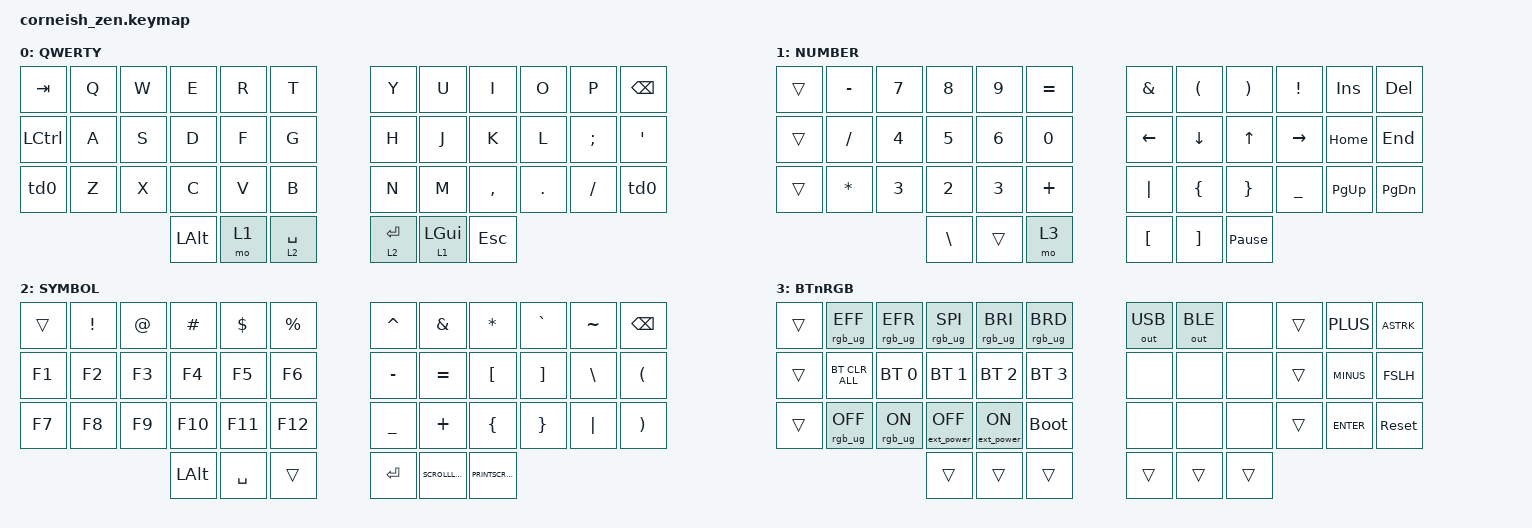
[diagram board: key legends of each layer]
/*
 * Copyright (c) 2020 The ZMK Contributors
 *
 * SPDX-License-Identifier: MIT
 */

#include <behaviors.dtsi>
#include <dt-bindings/zmk/bt.h>
#include <dt-bindings/zmk/ext_power.h>
#include <dt-bindings/zmk/keys.h>
#include <dt-bindings/zmk/outputs.h>
#include <dt-bindings/zmk/rgb.h>

/ {
    chosen {
        zmk,matrix_transform = &default_transform;

        // zmk,matrix_transform = &five_column_transform;
    };
};

/ {
    behaviors {
        td0: td0 {
            compatible = "zmk,behavior-tap-dance";
            label = "TD0";
            #binding-cells = <0>;
            bindings = <&kp LEFT_SHIFT>, <&kp CAPS>;
        };
    };

    keymap {
        compatible = "zmk,keymap";

        default_layer {
            display-name = "QWERTY";

            // --------------------------------------------------------------------------------
            // |  TAB |  Q  |  W  |  E  |  R  |  T  |   |  Y  |  U  |  I  |  O  |  P  | BKSP |
            // | CTRL |  A  |  S  |  D  |  F  |  G  |   |  H  |  J  |  K  |  L  |  ;  |  '   | 
            // | SHFT |  Z  |  X  |  C  |  V  |  B  |   |  N  |  M  |  ,  |  .  |  /  | SHFT |
            //                    | ALT | L01 |L2SPC|   |L3ENT|L1GUI| ESC |

            bindings = <
&kp TAB    &kp Q  &kp W  &kp E     &kp R   &kp T          &kp Y        &kp U      &kp I      &kp O    &kp P     &kp BSPC
&kp LCTRL  &kp A  &kp S  &kp D     &kp F   &kp G          &kp H        &kp J      &kp K      &kp L    &kp SEMI  &kp SQT
&td0       &kp Z  &kp X  &kp C     &kp V   &kp B          &kp N        &kp M      &kp COMMA  &kp DOT  &kp FSLH  &td0
                         &kp LALT  &mo 1   &lt 2 SPACE    &lt 2 ENTER  &lt 1 LGUI  &kp ESC
            >;
        };

        lower_layer {
            display-name = "NUMBER";

            // -----------------------------------------------------------------------------------------
            // |  TAB |  -  |  7  |  8  |  9  |  =  |   |  &  |  (  |  )  |  !  | INS |  DEL |
            // | CTLR |  /  |  4  |  5  |  6  |  0  |   | LFT | DWN |  UP | RGT | HOM |  END |
            // | SHFT |  *  |  1  |  2  |  3  |  +  |   | "|" |  {  |  }  |  _  | PGUP| PGDN |
            //                    |  \  |     | L03 |   |  [  |  ]  | P_B |

            bindings = <
&trans  &kp MINUS  &kp N7   &kp N8    &kp N9  &kp EQUAL   &kp AMPS  &kp LPAR  &kp RPAR  &kp EXCL   &kp INS    &kp DEL
&trans  &kp FSLH   &kp N4   &kp N5    &kp N6  &kp N0      &kp LEFT  &kp DOWN  &kp UP    &kp RIGHT  &kp HOME   &kp END
&trans  &kp ASTRK  &kp N3   &kp N2    &kp N3  &kp PLUS    &kp PIPE  &kp LBRC  &kp RBRC  &kp UNDER  &kp PG_UP  &kp PG_DN
                            &kp BSLH  &trans  &mo 3       &kp LBKT  &kp RBKT  &kp PAUSE_BREAK
            >;
        };

        raise_layer {
            display-name = "SYMBOL";

            // -----------------------------------------------------------------------------------------
            // |  TAB |  !  |  @  |  #  |  $  |  %  |   |  ^  |  &  |  *  |  (  |  )  | BKSP |
            // |  F1  |  F2 |  F3 |  F4 |  F5 |  F6 |   |  -  |  =  |  [  |  ]  |  \  |  `   |
            // |  F7  |  F8 |  F9 | F10 | F11 | F12 |   |  _  |  +  |  {  |  }  | "|" |  ~   |
            //                    | ALT | SPC |     |   | RET | SCLL| PRSC|

            bindings = <
&trans  &kp EXCL  &kp AT  &kp HASH  &kp DLLR  &kp PRCNT   &kp CARET  &kp AMPS   &kp ASTRK  &kp GRAVE  &kp TILDE  &kp BSPC
&kp F1  &kp F2    &kp F3  &kp F4    &kp F5    &kp F6      &kp MINUS  &kp EQUAL  &kp LBKT   &kp RBKT   &kp BSLH   &kp LPAR
&kp F7  &kp F8    &kp F9  &kp F10   &kp F11   &kp F12     &kp UNDER  &kp PLUS   &kp LBRC   &kp RBRC   &kp PIPE   &kp RPAR
                                    &kp LALT  &kp SPACE   &trans     &kp RET    &SCROLLLOCK  &PRINTSCREEN
            >;
        };

        layer_3 {
            display-name = "BTnRGB";

            // -----------------------------------------------------------------------------------------
            // |      |RGBEF|RGBER|RGBSI|RGBBI|RGBBD|   | USB | BLE |     |     |  +  |  *  |
            // |      | BT1 | BT2 | BT3 | BT4 | BT5 |   |     |     |     |     |  -  |  /  |
            // |      |RGBOF|RGBON|EPOFF| EPON| BTLD|   |     |     |     |     | ENT | SRST|
            //                    |     |     |     |   |     |     |     |

            bindings = <
&trans  &rgb_ug RGB_EFF  &rgb_ug RGB_EFR &rgb_ug RGB_SPI    &rgb_ug RGB_BRI   &rgb_ug RGB_BRD    &out OUT_USB  &out OUT_BLE  &none   &trans  &PLUS   &ASTRK
&trans  &bt BT_CLR_ALL   &bt BT_SEL 0    &bt BT_SEL 1       &bt BT_SEL 2      &bt BT_SEL 3       &none  &none  &none   &trans  &MINUS  &FSLH
&trans  &rgb_ug RGB_OFF  &rgb_ug RGB_ON  &ext_power EP_OFF  &ext_power EP_ON  &bootloader        &none  &none  &none   &trans  &ENTER  &sys_reset
                                         &trans             &trans            &trans             &trans  &trans  &trans
            >;
        };
    };
};
